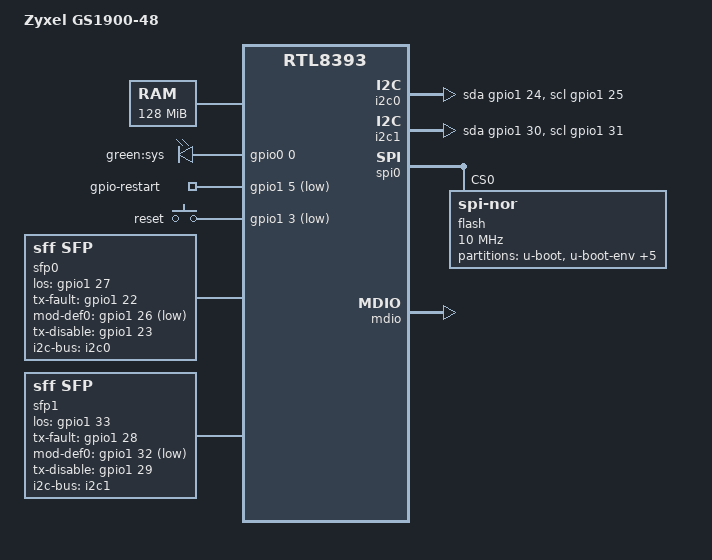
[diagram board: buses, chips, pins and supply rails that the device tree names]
/dts-v1/;

#include "rtl839x.dtsi"

#include <dt-bindings/input/input.h>
#include <dt-bindings/leds/common.h>
#include <dt-bindings/leds/realtek-led-trigger.h>
#include <dt-bindings/gpio/gpio.h>

/ {
	compatible = "zyxel,gs1900-48", "realtek,rtl8393-soc";
	model = "Zyxel GS1900-48";

	aliases {
		led-boot = &led_sys;
		led-failsafe = &led_sys;
		led-running = &led_sys;
		led-upgrade = &led_sys;
	};	

	memory@0 {
		device_type = "memory";
		reg = <0x0 0x8000000>;
	};

	leds {
		pinctrl-names = "default";
		pinctrl-0 = <&pinmux_disable_sys_led>;
		compatible = "gpio-leds";

		led_sys: sys {
			label = "green:sys";
			gpios = <&gpio0 0 GPIO_ACTIVE_HIGH>;
		};
	};

	gpio1: rtl8231-gpio {
		compatible = "realtek,rtl8231-gpio";
		#gpio-cells = <2>;
		indirect-access-bus-id = <3>;
		gpio-controller;
	};

	gpio-restart {
		compatible = "gpio-restart";
		gpios = <&gpio1 5 GPIO_ACTIVE_LOW>;
	};

	keys {
		compatible = "gpio-keys-polled";
		poll-interval = <20>;

		mode {
			label = "reset";
			gpios = <&gpio1 3 GPIO_ACTIVE_LOW>;
			linux,code = <KEY_RESTART>;
		};
	};

	/* i2c of the left SFP cage: port 49 */
	i2c0: i2c-gpio-0 {
		compatible = "i2c-gpio";
		sda-gpios = <&gpio1 24 (GPIO_ACTIVE_HIGH | GPIO_OPEN_DRAIN)>;
		scl-gpios = <&gpio1 25 (GPIO_ACTIVE_HIGH | GPIO_OPEN_DRAIN)>;
		i2c-gpio,delay-us = <2>;
		#address-cells = <1>;
		#size-cells = <0>;
	};

	sfp0: sfp-p9 {
		compatible = "sff,sfp";
		i2c-bus = <&i2c0>;
		los-gpio = <&gpio1 27 GPIO_ACTIVE_HIGH>;
		tx-fault-gpio = <&gpio1 22 GPIO_ACTIVE_HIGH>;
		mod-def0-gpio = <&gpio1 26 GPIO_ACTIVE_LOW>;
		tx-disable-gpio = <&gpio1 23 GPIO_ACTIVE_HIGH>;
	};

	/* i2c of the right SFP cage: port 50 */
	i2c1: i2c-gpio-1 {
		compatible = "i2c-gpio";
		sda-gpios = <&gpio1 30 (GPIO_ACTIVE_HIGH | GPIO_OPEN_DRAIN)>;
		scl-gpios = <&gpio1 31 (GPIO_ACTIVE_HIGH | GPIO_OPEN_DRAIN)>;
		i2c-gpio,delay-us = <2>;
		#address-cells = <1>;
		#size-cells = <0>;
	};

	sfp1: sfp-p10 {
		compatible = "sff,sfp";
		i2c-bus = <&i2c1>;
		los-gpio = <&gpio1 33 GPIO_ACTIVE_HIGH>;
		tx-fault-gpio = <&gpio1 28 GPIO_ACTIVE_HIGH>;
		mod-def0-gpio = <&gpio1 32 GPIO_ACTIVE_LOW>;
		tx-disable-gpio = <&gpio1 29 GPIO_ACTIVE_HIGH>;
	};
};

&spi0 {
	status = "okay";
	flash@0 {
		compatible = "jedec,spi-nor";
		reg = <0>;
		spi-max-frequency = <10000000>;

		partitions {
			compatible = "fixed-partitions";
			#address-cells = <1>;
			#size-cells = <1>;

			partition@0 {
				label = "u-boot";
				reg = <0x0 0x40000>;
				read-only;
			};
			partition@40000 {
				label = "u-boot-env";
				reg = <0x40000 0x10000>;
				read-only;
			};
			partition@50000 {
				label = "u-boot-env2";
				reg = <0x50000 0x10000>;
				read-only;
			};
			partition@60000 {
				label = "jffs";
				reg = <0x60000 0x100000>;
			};
			partition@160000 {
				label = "jffs2";
				reg = <0x160000 0x100000>;
			};
			partition@b260000 {
				label = "firmware";
				reg = <0x260000 0xda0000>;
				compatible = "openwrt,uimage", "denx,uimage";
				openwrt,ih-magic = <0x83800000>;
			};
			partition@930000 {
				label = "runtime2";
				reg = <0x930000 0x6d0000>;
			};
		};
	};
};

&ethernet0 {
	mdio: mdio-bus {
		compatible = "realtek,rtl838x-mdio";
		regmap = <&ethernet0>;
		#address-cells = <1>;
		#size-cells = <0>;
		
		/* External phy RTL8218B #1 */
		EXTERNAL_PHY(0)
		EXTERNAL_PHY(1)
		EXTERNAL_PHY(2)
		EXTERNAL_PHY(3)
		EXTERNAL_PHY(4)
		EXTERNAL_PHY(5)
		EXTERNAL_PHY(6)
		EXTERNAL_PHY(7)

		/* External phy RTL8218B #2 */
		EXTERNAL_PHY(8)
		EXTERNAL_PHY(9)
		EXTERNAL_PHY(10)
		EXTERNAL_PHY(11)
		EXTERNAL_PHY(12)
		EXTERNAL_PHY(13)
		EXTERNAL_PHY(14)
		EXTERNAL_PHY(15)

		/* External phy RTL8218B #3 */
		EXTERNAL_PHY(16)
		EXTERNAL_PHY(17)
		EXTERNAL_PHY(18)
		EXTERNAL_PHY(19)
		EXTERNAL_PHY(20)
		EXTERNAL_PHY(21)
		EXTERNAL_PHY(22)
		EXTERNAL_PHY(23)

		/* External phy RTL8218B #4 */
		EXTERNAL_PHY(24)
		EXTERNAL_PHY(25)
		EXTERNAL_PHY(26)
		EXTERNAL_PHY(27)
		EXTERNAL_PHY(28)
		EXTERNAL_PHY(29)
		EXTERNAL_PHY(30)
		EXTERNAL_PHY(31)

		/* External phy RTL8218B #5 */
		EXTERNAL_PHY(32)
		EXTERNAL_PHY(33)
		EXTERNAL_PHY(34)
		EXTERNAL_PHY(35)
		EXTERNAL_PHY(36)
		EXTERNAL_PHY(37)
		EXTERNAL_PHY(38)
		EXTERNAL_PHY(39)

		/* External phy RTL8218B #6 */
		EXTERNAL_PHY(40)
		EXTERNAL_PHY(41)
		EXTERNAL_PHY(42)
		EXTERNAL_PHY(43)
		EXTERNAL_PHY(44)
		EXTERNAL_PHY(45)
		EXTERNAL_PHY(46)
		EXTERNAL_PHY(47)

		/* RTL8393 Internal SerDes */
		INTERNAL_PHY(48)
		INTERNAL_PHY(49)
	};
};

&switch0 {
	ports {
		#address-cells = <1>;
		#size-cells = <0>;

		SWITCH_PORT(0, 01, qsgmii)
		SWITCH_PORT(1, 02, qsgmii)
		SWITCH_PORT(2, 03, qsgmii)
		SWITCH_PORT(3, 04, qsgmii)
		SWITCH_PORT(4, 05, qsgmii)
		SWITCH_PORT(5, 06, qsgmii)
		SWITCH_PORT(6, 07, qsgmii)
		SWITCH_PORT(7, 08, qsgmii)

		SWITCH_PORT(8, 09, qsgmii)
		SWITCH_PORT(9, 10, qsgmii)
		SWITCH_PORT(10, 11, qsgmii)
		SWITCH_PORT(11, 12, qsgmii)
		SWITCH_PORT(12, 13, qsgmii)
		SWITCH_PORT(13, 14, qsgmii)
		SWITCH_PORT(14, 15, qsgmii)
		SWITCH_PORT(15, 16, qsgmii)

		SWITCH_PORT(16, 17, qsgmii)
		SWITCH_PORT(17, 18, qsgmii)
		SWITCH_PORT(18, 19, qsgmii)
		SWITCH_PORT(19, 20, qsgmii)
		SWITCH_PORT(20, 21, qsgmii)
		SWITCH_PORT(21, 22, qsgmii)
		SWITCH_PORT(22, 23, qsgmii)
		SWITCH_PORT(23, 24, qsgmii)

		SWITCH_PORT(24, 25, qsgmii)
		SWITCH_PORT(25, 26, qsgmii)
		SWITCH_PORT(26, 27, qsgmii)
		SWITCH_PORT(27, 28, qsgmii)
		SWITCH_PORT(28, 29, qsgmii)
		SWITCH_PORT(29, 30, qsgmii)
		SWITCH_PORT(30, 31, qsgmii)
		SWITCH_PORT(31, 32, qsgmii)

		SWITCH_PORT(32, 33, qsgmii)
		SWITCH_PORT(33, 34, qsgmii)
		SWITCH_PORT(34, 35, qsgmii)
		SWITCH_PORT(35, 36, qsgmii)
		SWITCH_PORT(36, 37, qsgmii)
		SWITCH_PORT(37, 38, qsgmii)
		SWITCH_PORT(38, 39, qsgmii)
		SWITCH_PORT(39, 40, qsgmii)

		SWITCH_PORT(40, 41, qsgmii)
		SWITCH_PORT(41, 42, qsgmii)
		SWITCH_PORT(42, 43, qsgmii)
		SWITCH_PORT(43, 44, qsgmii)
		SWITCH_PORT(44, 45, qsgmii)
		SWITCH_PORT(45, 46, qsgmii)
		SWITCH_PORT(46, 47, qsgmii)
		SWITCH_PORT(47, 48, qsgmii)

		/* SFP cages */
		port@48 {
			reg = <48>;
			label = "lan49";
			phy-mode = "sgmii";
			phy-handle = <&phy48>;
			sfp = <&sfp0>;

			fixed-link {
				speed = <1000>;
				full-duplex;
				pause;
			};

		};

		port@49 {
			reg = <49>;
			label = "lan50";
			phy-mode = "sgmii";
			phy-handle = <&phy49>;
			sfp = <&sfp1>;

			fixed-link {
				speed = <1000>;
				full-duplex;
				pause;
			};

		};

		/* CPU-Port */
		port@52 {
			ethernet = <&ethernet0>;
			reg = <52>;
			phy-mode = "qsgmii";
			fixed-link {
				speed = <1000>;
				full-duplex;
			};
		};
	};
};

&switchcore {
	port-leds {
		compatible = "realtek,cypress-port-led";
		#address-cells = <3>;
		#size-cells = <0>;

		realtek,output-mode = "single-color-scan";

		led@0.0.0 {
			reg = <0 0 0>;
			label = "green:lan-1";
			color = <LED_COLOR_ID_GREEN>;
			function = LED_FUNCTION_LAN;
			function-enumerator = <1>;
			linux,default-trigger = "realtek-switchport";
			realtek,port-led-trigger = <(RTL_LED_ACT | RTL_LED_LINK_10_100_1000)>;
		};
		led@1.0.0 {
			reg = <1 0 0>;
			label = "green:lan-2";
			color = <LED_COLOR_ID_GREEN>;
			function = LED_FUNCTION_LAN;
			function-enumerator = <2>;
			linux,default-trigger = "realtek-switchport";
			realtek,port-led-trigger = <(RTL_LED_ACT | RTL_LED_LINK_10_100_1000)>;
		};
		led@2.0.0 {
			reg = <2 0 0>;
			label = "green:lan-3";
			color = <LED_COLOR_ID_GREEN>;
			function = LED_FUNCTION_LAN;
			function-enumerator = <3>;
			linux,default-trigger = "realtek-switchport";
			realtek,port-led-trigger = <(RTL_LED_ACT | RTL_LED_LINK_10_100_1000)>;
		};
		led@3.0.0 {
			reg = <3 0 0>;
			label = "green:lan-4";
			color = <LED_COLOR_ID_GREEN>;
			function = LED_FUNCTION_LAN;
			function-enumerator = <4>;
			linux,default-trigger = "realtek-switchport";
			realtek,port-led-trigger = <(RTL_LED_ACT | RTL_LED_LINK_10_100_1000)>;
		};
		led@4.0.0 {
			reg = <4 0 0>;
			label = "green:lan-5";
			color = <LED_COLOR_ID_GREEN>;
			function = LED_FUNCTION_LAN;
			function-enumerator = <5>;
			linux,default-trigger = "realtek-switchport";
			realtek,port-led-trigger = <(RTL_LED_ACT | RTL_LED_LINK_10_100_1000)>;
		};
		led@5.0.0 {
			reg = <5 0 0>;
			label = "green:lan-6";
			color = <LED_COLOR_ID_GREEN>;
			function = LED_FUNCTION_LAN;
			function-enumerator = <6>;
			linux,default-trigger = "realtek-switchport";
			realtek,port-led-trigger = <(RTL_LED_ACT | RTL_LED_LINK_10_100_1000)>;
		};
		led@6.0.0 {
			reg = <6 0 0>;
			label = "green:lan-7";
			color = <LED_COLOR_ID_GREEN>;
			function = LED_FUNCTION_LAN;
			function-enumerator = <7>;
			linux,default-trigger = "realtek-switchport";
			realtek,port-led-trigger = <(RTL_LED_ACT | RTL_LED_LINK_10_100_1000)>;
		};
		led@7.0.0 {
			reg = <7 0 0>;
			label = "green:lan-8";
			color = <LED_COLOR_ID_GREEN>;
			function = LED_FUNCTION_LAN;
			function-enumerator = <8>;
			linux,default-trigger = "realtek-switchport";
			realtek,port-led-trigger = <(RTL_LED_ACT | RTL_LED_LINK_10_100_1000)>;
		};
		led@8.0.0 {
			reg = <8 0 0>;
			label = "green:lan-9";
			color = <LED_COLOR_ID_GREEN>;
			function = LED_FUNCTION_LAN;
			function-enumerator = <9>;
			linux,default-trigger = "realtek-switchport";
			realtek,port-led-trigger = <(RTL_LED_ACT | RTL_LED_LINK_10_100_1000)>;
		};
		led@9.0.0 {
			reg = <9 0 0>;
			label = "green:lan-10";
			color = <LED_COLOR_ID_GREEN>;
			function = LED_FUNCTION_LAN;
			function-enumerator = <10>;
			linux,default-trigger = "realtek-switchport";
			realtek,port-led-trigger = <(RTL_LED_ACT | RTL_LED_LINK_10_100_1000)>;
		};
		led@10.0.0 {
			reg = <10 0 0>;
			label = "green:lan-11";
			color = <LED_COLOR_ID_GREEN>;
			function = LED_FUNCTION_LAN;
			function-enumerator = <11>;
			linux,default-trigger = "realtek-switchport";
			realtek,port-led-trigger = <(RTL_LED_ACT | RTL_LED_LINK_10_100_1000)>;
		};
		led@11.0.0 {
			reg = <11 0 0>;
			label = "green:lan-12";
			color = <LED_COLOR_ID_GREEN>;
			function = LED_FUNCTION_LAN;
			function-enumerator = <12>;
			linux,default-trigger = "realtek-switchport";
			realtek,port-led-trigger = <(RTL_LED_ACT | RTL_LED_LINK_10_100_1000)>;
		};
		led@12.0.0 {
			reg = <12 0 0>;
			label = "green:lan-13";
			color = <LED_COLOR_ID_GREEN>;
			function = LED_FUNCTION_LAN;
			function-enumerator = <13>;
			linux,default-trigger = "realtek-switchport";
			realtek,port-led-trigger = <(RTL_LED_ACT | RTL_LED_LINK_10_100_1000)>;
		};
		led@13.0.0 {
			reg = <13 0 0>;
			label = "green:lan-14";
			color = <LED_COLOR_ID_GREEN>;
			function = LED_FUNCTION_LAN;
			function-enumerator = <14>;
			linux,default-trigger = "realtek-switchport";
			realtek,port-led-trigger = <(RTL_LED_ACT | RTL_LED_LINK_10_100_1000)>;
		};
		led@14.0.0 {
			reg = <14 0 0>;
			label = "green:lan-15";
			color = <LED_COLOR_ID_GREEN>;
			function = LED_FUNCTION_LAN;
			function-enumerator = <15>;
			linux,default-trigger = "realtek-switchport";
			realtek,port-led-trigger = <(RTL_LED_ACT | RTL_LED_LINK_10_100_1000)>;
		};
		led@15.0.0 {
			reg = <15 0 0>;
			label = "green:lan-16";
			color = <LED_COLOR_ID_GREEN>;
			function = LED_FUNCTION_LAN;
			function-enumerator = <16>;
			linux,default-trigger = "realtek-switchport";
			realtek,port-led-trigger = <(RTL_LED_ACT | RTL_LED_LINK_10_100_1000)>;
		};
		led@16.0.0 {
			reg = <16 0 0>;
			label = "green:lan-17";
			color = <LED_COLOR_ID_GREEN>;
			function = LED_FUNCTION_LAN;
			function-enumerator = <17>;
			linux,default-trigger = "realtek-switchport";
			realtek,port-led-trigger = <(RTL_LED_ACT | RTL_LED_LINK_10_100_1000)>;
		};
		led@17.0.0 {
			reg = <17 0 0>;
			label = "green:lan-18";
			color = <LED_COLOR_ID_GREEN>;
			function = LED_FUNCTION_LAN;
			function-enumerator = <18>;
			linux,default-trigger = "realtek-switchport";
			realtek,port-led-trigger = <(RTL_LED_ACT | RTL_LED_LINK_10_100_1000)>;
		};
		led@18.0.0 {
			reg = <18 0 0>;
			label = "green:lan-19";
			color = <LED_COLOR_ID_GREEN>;
			function = LED_FUNCTION_LAN;
			function-enumerator = <19>;
			linux,default-trigger = "realtek-switchport";
			realtek,port-led-trigger = <(RTL_LED_ACT | RTL_LED_LINK_10_100_1000)>;
		};
		led@19.0.0 {
			reg = <19 0 0>;
			label = "green:lan-20";
			color = <LED_COLOR_ID_GREEN>;
			function = LED_FUNCTION_LAN;
			function-enumerator = <20>;
			linux,default-trigger = "realtek-switchport";
			realtek,port-led-trigger = <(RTL_LED_ACT | RTL_LED_LINK_10_100_1000)>;
		};
		led@20.0.0 {
			reg = <20 0 0>;
			label = "green:lan-21";
			color = <LED_COLOR_ID_GREEN>;
			function = LED_FUNCTION_LAN;
			function-enumerator = <21>;
			linux,default-trigger = "realtek-switchport";
			realtek,port-led-trigger = <(RTL_LED_ACT | RTL_LED_LINK_10_100_1000)>;
		};
		led@21.0.0 {
			reg = <21 0 0>;
			label = "green:lan-22";
			color = <LED_COLOR_ID_GREEN>;
			function = LED_FUNCTION_LAN;
			function-enumerator = <22>;
			linux,default-trigger = "realtek-switchport";
			realtek,port-led-trigger = <(RTL_LED_ACT | RTL_LED_LINK_10_100_1000)>;
		};
		led@22.0.0 {
			reg = <22 0 0>;
			label = "green:lan-23";
			color = <LED_COLOR_ID_GREEN>;
			function = LED_FUNCTION_LAN;
			function-enumerator = <23>;
			linux,default-trigger = "realtek-switchport";
			realtek,port-led-trigger = <(RTL_LED_ACT | RTL_LED_LINK_10_100_1000)>;
		};
		led@23.0.0 {
			reg = <23 0 0>;
			label = "green:lan-24";
			color = <LED_COLOR_ID_GREEN>;
			function = LED_FUNCTION_LAN;
			function-enumerator = <24>;
			linux,default-trigger = "realtek-switchport";
			realtek,port-led-trigger = <(RTL_LED_ACT | RTL_LED_LINK_10_100_1000)>;
		};
		led@24.0.0 {
			reg = <24 0 0>;
			label = "green:lan-25";
			color = <LED_COLOR_ID_GREEN>;
			function = LED_FUNCTION_LAN;
			function-enumerator = <25>;
			linux,default-trigger = "realtek-switchport";
			realtek,port-led-trigger = <(RTL_LED_ACT | RTL_LED_LINK_10_100_1000)>;
		};
		led@25.0.0 {
			reg = <25 0 0>;
			label = "green:lan-26";
			color = <LED_COLOR_ID_GREEN>;
			function = LED_FUNCTION_LAN;
			function-enumerator = <26>;
			linux,default-trigger = "realtek-switchport";
			realtek,port-led-trigger = <(RTL_LED_ACT | RTL_LED_LINK_10_100_1000)>;
		};
		led@26.0.0 {
			reg = <26 0 0>;
			label = "green:lan-27";
			color = <LED_COLOR_ID_GREEN>;
			function = LED_FUNCTION_LAN;
			function-enumerator = <27>;
			linux,default-trigger = "realtek-switchport";
			realtek,port-led-trigger = <(RTL_LED_ACT | RTL_LED_LINK_10_100_1000)>;
		};
		led@27.0.0 {
			reg = <27 0 0>;
			label = "green:lan-28";
			color = <LED_COLOR_ID_GREEN>;
			function = LED_FUNCTION_LAN;
			function-enumerator = <28>;
			linux,default-trigger = "realtek-switchport";
			realtek,port-led-trigger = <(RTL_LED_ACT | RTL_LED_LINK_10_100_1000)>;
		};
		led@28.0.0 {
			reg = <28 0 0>;
			label = "green:lan-29";
			color = <LED_COLOR_ID_GREEN>;
			function = LED_FUNCTION_LAN;
			function-enumerator = <29>;
			linux,default-trigger = "realtek-switchport";
			realtek,port-led-trigger = <(RTL_LED_ACT | RTL_LED_LINK_10_100_1000)>;
		};
		led@29.0.0 {
			reg = <29 0 0>;
			label = "green:lan-30";
			color = <LED_COLOR_ID_GREEN>;
			function = LED_FUNCTION_LAN;
			function-enumerator = <30>;
			linux,default-trigger = "realtek-switchport";
			realtek,port-led-trigger = <(RTL_LED_ACT | RTL_LED_LINK_10_100_1000)>;
		};
		led@30.0.0 {
			reg = <30 0 0>;
			label = "green:lan-31";
			color = <LED_COLOR_ID_GREEN>;
			function = LED_FUNCTION_LAN;
			function-enumerator = <31>;
			linux,default-trigger = "realtek-switchport";
			realtek,port-led-trigger = <(RTL_LED_ACT | RTL_LED_LINK_10_100_1000)>;
		};
		led@31.0.0 {
			reg = <31 0 0>;
			label = "green:lan-32";
			color = <LED_COLOR_ID_GREEN>;
			function = LED_FUNCTION_LAN;
			function-enumerator = <32>;
			linux,default-trigger = "realtek-switchport";
			realtek,port-led-trigger = <(RTL_LED_ACT | RTL_LED_LINK_10_100_1000)>;
		};
		led@32.0.0 {
			reg = <32 0 0>;
			label = "green:lan-33";
			color = <LED_COLOR_ID_GREEN>;
			function = LED_FUNCTION_LAN;
			function-enumerator = <33>;
			linux,default-trigger = "realtek-switchport";
			realtek,port-led-trigger = <(RTL_LED_ACT | RTL_LED_LINK_10_100_1000)>;
		};
		led@33.0.0 {
			reg = <33 0 0>;
			label = "green:lan-34";
			color = <LED_COLOR_ID_GREEN>;
			function = LED_FUNCTION_LAN;
			function-enumerator = <34>;
			linux,default-trigger = "realtek-switchport";
			realtek,port-led-trigger = <(RTL_LED_ACT | RTL_LED_LINK_10_100_1000)>;
		};
		led@34.0.0 {
			reg = <34 0 0>;
			label = "green:lan-35";
			color = <LED_COLOR_ID_GREEN>;
			function = LED_FUNCTION_LAN;
			function-enumerator = <35>;
			linux,default-trigger = "realtek-switchport";
			realtek,port-led-trigger = <(RTL_LED_ACT | RTL_LED_LINK_10_100_1000)>;
		};
		led@35.0.0 {
			reg = <35 0 0>;
			label = "green:lan-36";
			color = <LED_COLOR_ID_GREEN>;
			function = LED_FUNCTION_LAN;
			function-enumerator = <36>;
			linux,default-trigger = "realtek-switchport";
			realtek,port-led-trigger = <(RTL_LED_ACT | RTL_LED_LINK_10_100_1000)>;
		};
		led@36.0.0 {
			reg = <36 0 0>;
			label = "green:lan-37";
			color = <LED_COLOR_ID_GREEN>;
			function = LED_FUNCTION_LAN;
			function-enumerator = <37>;
			linux,default-trigger = "realtek-switchport";
			realtek,port-led-trigger = <(RTL_LED_ACT | RTL_LED_LINK_10_100_1000)>;
		};
		led@37.0.0 {
			reg = <37 0 0>;
			label = "green:lan-38";
			color = <LED_COLOR_ID_GREEN>;
			function = LED_FUNCTION_LAN;
			function-enumerator = <38>;
			linux,default-trigger = "realtek-switchport";
			realtek,port-led-trigger = <(RTL_LED_ACT | RTL_LED_LINK_10_100_1000)>;
		};
		led@38.0.0 {
			reg = <38 0 0>;
			label = "green:lan-39";
			color = <LED_COLOR_ID_GREEN>;
			function = LED_FUNCTION_LAN;
			function-enumerator = <39>;
			linux,default-trigger = "realtek-switchport";
			realtek,port-led-trigger = <(RTL_LED_ACT | RTL_LED_LINK_10_100_1000)>;
		};
		led@39.0.0 {
			reg = <39 0 0>;
			label = "green:lan-40";
			color = <LED_COLOR_ID_GREEN>;
			function = LED_FUNCTION_LAN;
			function-enumerator = <40>;
			linux,default-trigger = "realtek-switchport";
			realtek,port-led-trigger = <(RTL_LED_ACT | RTL_LED_LINK_10_100_1000)>;
		};
		led@40.0.0 {
			reg = <40 0 0>;
			label = "green:lan-41";
			color = <LED_COLOR_ID_GREEN>;
			function = LED_FUNCTION_LAN;
			function-enumerator = <41>;
			linux,default-trigger = "realtek-switchport";
			realtek,port-led-trigger = <(RTL_LED_ACT | RTL_LED_LINK_10_100_1000)>;
		};
		led@41.0.0 {
			reg = <41 0 0>;
			label = "green:lan-42";
			color = <LED_COLOR_ID_GREEN>;
			function = LED_FUNCTION_LAN;
			function-enumerator = <42>;
			linux,default-trigger = "realtek-switchport";
			realtek,port-led-trigger = <(RTL_LED_ACT | RTL_LED_LINK_10_100_1000)>;
		};
		led@42.0.0 {
			reg = <42 0 0>;
			label = "green:lan-43";
			color = <LED_COLOR_ID_GREEN>;
			function = LED_FUNCTION_LAN;
			function-enumerator = <43>;
			linux,default-trigger = "realtek-switchport";
			realtek,port-led-trigger = <(RTL_LED_ACT | RTL_LED_LINK_10_100_1000)>;
		};
		led@43.0.0 {
			reg = <43 0 0>;
			label = "green:lan-44";
			color = <LED_COLOR_ID_GREEN>;
			function = LED_FUNCTION_LAN;
			function-enumerator = <44>;
			linux,default-trigger = "realtek-switchport";
			realtek,port-led-trigger = <(RTL_LED_ACT | RTL_LED_LINK_10_100_1000)>;
		};
		led@44.0.0 {
			reg = <44 0 0>;
			label = "green:lan-45";
			color = <LED_COLOR_ID_GREEN>;
			function = LED_FUNCTION_LAN;
			function-enumerator = <45>;
			linux,default-trigger = "realtek-switchport";
			realtek,port-led-trigger = <(RTL_LED_ACT | RTL_LED_LINK_10_100_1000)>;
		};
		led@45.0.0 {
			reg = <45 0 0>;
			label = "green:lan-46";
			color = <LED_COLOR_ID_GREEN>;
			function = LED_FUNCTION_LAN;
			function-enumerator = <46>;
			linux,default-trigger = "realtek-switchport";
			realtek,port-led-trigger = <(RTL_LED_ACT | RTL_LED_LINK_10_100_1000)>;
		};
		led@46.0.0 {
			reg = <46 0 0>;
			label = "green:lan-47";
			color = <LED_COLOR_ID_GREEN>;
			function = LED_FUNCTION_LAN;
			function-enumerator = <47>;
			linux,default-trigger = "realtek-switchport";
			realtek,port-led-trigger = <(RTL_LED_ACT | RTL_LED_LINK_10_100_1000)>;
		};
		led@47.0.0 {
			reg = <47 0 0>;
			label = "green:lan-48";
			color = <LED_COLOR_ID_GREEN>;
			function = LED_FUNCTION_LAN;
			function-enumerator = <48>;
			linux,default-trigger = "realtek-switchport";
			realtek,port-led-trigger = <(RTL_LED_ACT | RTL_LED_LINK_10_100_1000)>;
		};
		led@48.0.0 {
			reg = <48 0 0>;
			label = "green:lan-49";
			color = <LED_COLOR_ID_GREEN>;
			function = LED_FUNCTION_LAN;
			function-enumerator = <49>;
			linux,default-trigger = "realtek-switchport";
			realtek,port-led-trigger = <(RTL_LED_ACT | RTL_LED_LINK_10_100_1000)>;
		};
		led@49.0.0 {
			reg = <49 0 0>;
			label = "green:lan-50";
			color = <LED_COLOR_ID_GREEN>;
			function = LED_FUNCTION_LAN;
			function-enumerator = <50>;
			linux,default-trigger = "realtek-switchport";
			realtek,port-led-trigger = <(RTL_LED_ACT | RTL_LED_LINK_10_100_1000)>;
		};
	};
};
